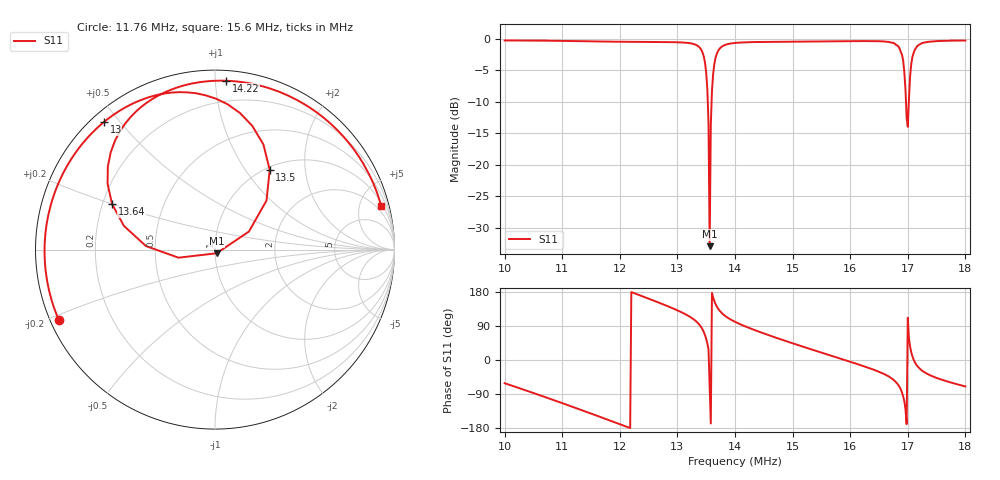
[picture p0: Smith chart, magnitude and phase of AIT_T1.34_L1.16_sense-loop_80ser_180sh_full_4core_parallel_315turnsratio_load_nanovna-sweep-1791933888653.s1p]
! NanoVNA Web complex sweep
! Processing: original sample grid, no browser smoothing
# Hz S RI R 50
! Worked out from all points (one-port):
!   401 points, 10 MHz to 18 MHz, reference 50 ohm
!   lowest |S11| = -33.0 dB at 13.56 MHz (marker M1), VSWR 1.05, Z = 50.9 - j2.09 ohm
!   |S11| at or under -10 dB: 13.52732 MHz to 13.59359 MHz (66.27 kHz wide, 0.489 % of centre); 16.96865 MHz to 17.01823 MHz (49.58 kHz wide, 0.292 % of centre)
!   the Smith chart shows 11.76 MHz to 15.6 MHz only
!   S11 on the Smith chart (normalised r, x): 11.76 MHz: 0.02, -0.21; 13 MHz: 0.04, +0.45; 13.5 MHz: 1.04, +1.31; 13.64 MHz: 0.24, +0.20; 14.22 MHz: 0.06, +1.07; 15.6 MHz: 1.29, +7.54
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1e7  0.4687 -0.8539
1.1e7  -0.39 -0.8843
1.176e7  -0.8707 -0.3912
1.2e7  -0.9352 -0.1756
1.252e7  -0.8948 0.3124
1.3e7  -0.6187 0.7107
1.336e7  -0.1059 0.8712
1.344e7  0.1392 0.761
1.35e7  0.3049 0.4443
1.352e7  0.2869 0.273
1.356e7  0.0091 -0.0206
1.36e7  -0.3846 0.0196
1.364e7  -0.5737 0.2546
1.378e7  -0.4704 0.7384
1.4e7  -0.1746 0.9142
1.422e7  0.0641 0.9406
1.5e7  0.6844 0.6631
1.56e7  0.9262 0.2428
1.6e7  0.9562 -0.0783
1.658e7  0.7714 -0.567
1.684e7  0.3381 -0.7991
1.694e7  -0.1747 -0.5115
1.7e7  -0.0736 0.1865
1.704e7  0.4117 0.2921
1.708e7  0.7096 0.1247
1.716e7  0.8473 -0.2231
1.744e7  0.6929 -0.6625
1.8e7  0.3368 -0.9131
